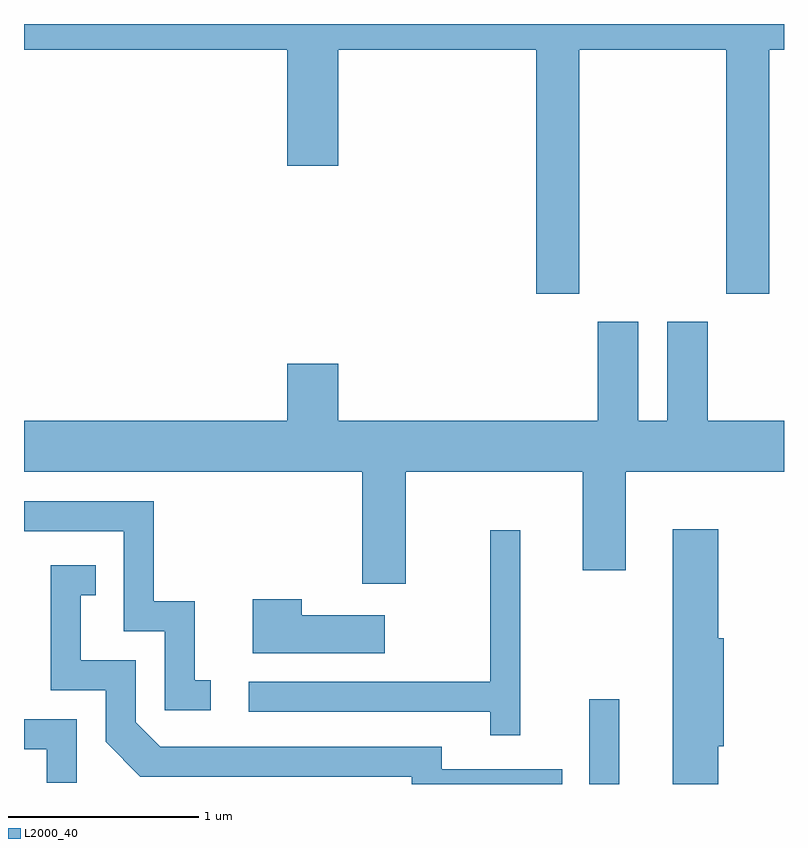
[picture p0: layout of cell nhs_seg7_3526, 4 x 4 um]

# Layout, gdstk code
import gdstk
lib = gdstk.Library(unit=1e-6, precision=1e-09)
def R(c, l, rs):  # rectangles x0, y0, x1, y1
    for r in rs: c.add(gdstk.rectangle(r[:2], r[2:], *l))
def P(c, l, *ps):  # polygons
    for p in ps: c.add(gdstk.Polygon(p, *l))
L2000_40 = (2000, 40)

nhs_seg7_3526 = lib.new_cell('nhs_seg7_3526')
R(nhs_seg7_3526, L2000_40, [(296.586,1688.252,296.744,1688.698)])
P(nhs_seg7_3526, L2000_40, [(296.534,1692.116),(297.306,1692.116),(297.306,1690.831),(297.534,1690.831),(297.534,1692.116),(297.611,1692.116),(297.611,1692.252),(293.611,1692.252),(293.611,1692.116),(294.996,1692.116),(294.996,1691.506),(295.264,1691.506),(295.264,1692.116),(296.306,1692.116),(296.306,1690.831),(296.534,1690.831)],
  [(295.619,1689.896),(296.551,1689.896),(296.551,1689.376),(296.779,1689.376),(296.779,1689.896),(297.611,1689.896),(297.611,1690.164),(297.209,1690.164),(297.209,1690.684),(296.996,1690.684),(296.996,1690.164),(296.844,1690.164),(296.844,1690.684),(296.631,1690.684),(296.631,1690.164),(295.264,1690.164),(295.264,1690.464),(294.996,1690.464),(294.996,1690.164),(293.611,1690.164),(293.611,1689.896),(295.391,1689.896),(295.391,1689.306),(295.619,1689.306)],
  [(294.593,1688.799),(294.509,1688.799),(294.509,1689.214),(294.294,1689.214),(294.294,1689.739),(293.611,1689.739),(293.611,1689.581),(294.136,1689.581),(294.136,1689.056),(294.351,1689.056),(294.351,1688.641),(294.593,1688.641)],
  [(297.264,1688.451),(297.294,1688.451),(297.294,1689.019),(297.264,1689.019),(297.264,1689.594),(297.026,1689.594),(297.026,1688.252),(297.264,1688.252)],
  [(296.224,1689.588),(296.066,1689.588),(296.066,1688.789),(294.793,1688.789),(294.793,1688.631),(296.066,1688.631),(296.066,1688.508),(296.224,1688.508)],
  [(296.443,1688.329),(295.809,1688.329),(295.809,1688.449),(294.327,1688.449),(294.199,1688.577),(294.199,1688.904),(293.909,1688.904),(293.909,1689.246),(293.988,1689.246),(293.988,1689.404),(293.751,1689.404),(293.751,1688.746),(294.041,1688.746),(294.041,1688.474),(294.224,1688.291),(295.651,1688.291),(295.651,1688.252),(296.443,1688.252)],
  [(295.509,1689.139),(295.074,1689.139),(295.074,1689.224),(294.816,1689.224),(294.816,1688.941),(295.509,1688.941)],
  [(293.889,1688.594),(293.611,1688.594),(293.611,1688.436),(293.731,1688.436),(293.731,1688.258),(293.889,1688.258)])

lib.write_gds('nhs_seg7_3526.gds')
